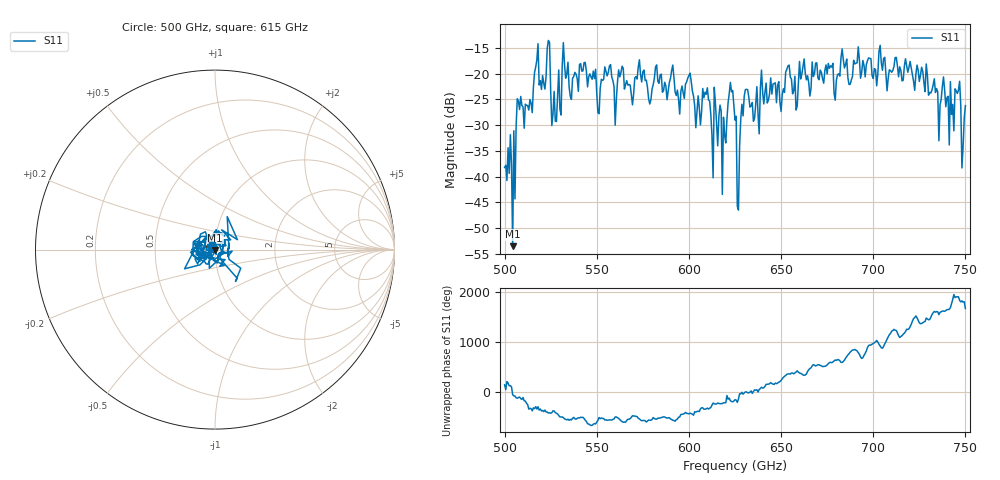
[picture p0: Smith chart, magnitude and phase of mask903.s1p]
!Created with skrf (http://scikit-rf.org).
# GHz S MA R 50.0
!freq magS11 angS11
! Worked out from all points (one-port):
!   401 points, 500 GHz to 750 GHz, reference 50 ohm
!   lowest |S11| = -53.5 dB at 504.4 GHz (marker M1), VSWR 1.00, Z = 50.1 - j0.165 ohm
!   |S11| at or under -10 dB: start of sweep to end of sweep
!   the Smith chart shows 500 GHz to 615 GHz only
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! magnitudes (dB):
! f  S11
! 500 GHz  -38.2
! 504.4 GHz  -53.5
! 507.5 GHz  -25.3
! 513.8 GHz  -25.0
! 516.9 GHz  -18.7
! 520.6 GHz  -20.4
! 523.8 GHz  -13.5
! 526.9 GHz  -23.4
! 531.2 GHz  -18.5
! 542.5 GHz  -19.4
! 551.2 GHz  -27.8
! 562.5 GHz  -20.6
! 578.8 GHz  -25.9
! 590.6 GHz  -19.4
! 593.8 GHz  -23.2
! 608.8 GHz  -23.6
! 619.4 GHz  -32.0
! 623.1 GHz  -23.5
! 625 GHz  -29.0
! 626.9 GHz  -46.5
! 631.2 GHz  -23.0
! 636.9 GHz  -22.5
! 656.2 GHz  -23.9
! 680 GHz  -21.2
! 683.8 GHz  -17.2
! 687.5 GHz  -22.0
! 718.8 GHz  -19.7
! 750 GHz  -26.2
